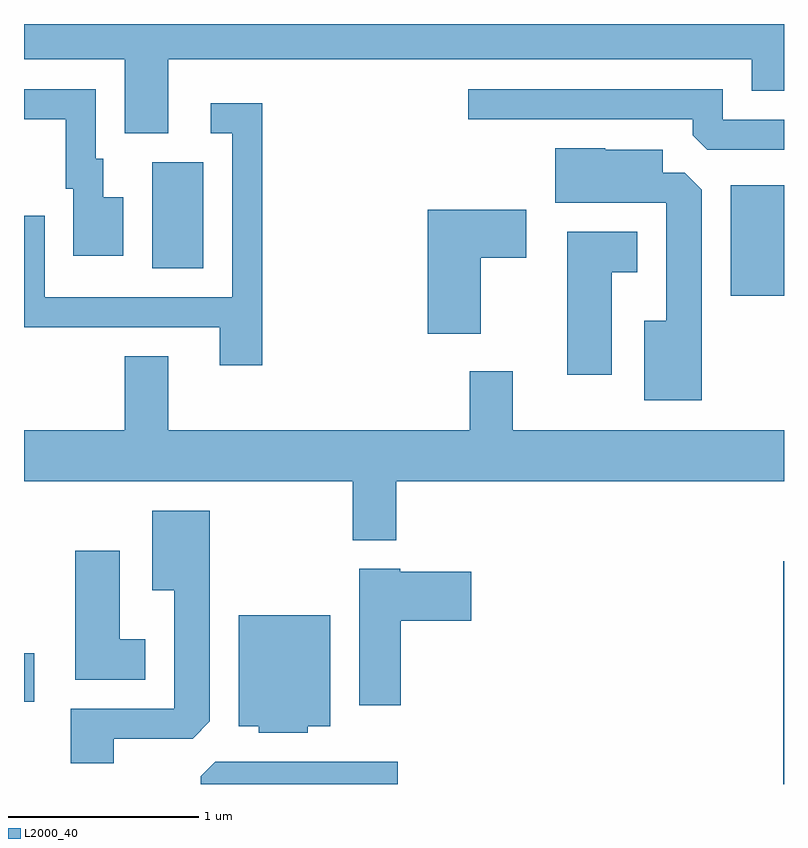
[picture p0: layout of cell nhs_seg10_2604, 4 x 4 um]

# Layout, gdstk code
import gdstk
lib = gdstk.Library(unit=1e-6, precision=1e-09)
def R(c, l, rs):  # rectangles x0, y0, x1, y1
    for r in rs: c.add(gdstk.rectangle(r[:2], r[2:], *l))
def P(c, l, *ps):  # polygons
    for p in ps: c.add(gdstk.Polygon(p, *l))
L2000_40 = (2000, 40)

nhs_seg10_2604 = lib.new_cell('nhs_seg10_2604')
R(nhs_seg10_2604, L2000_40, [(265.606,2134.522,265.611,2135.694), (261.611,2134.956,261.664,2135.209), (265.331,2137.091,265.611,2137.674), (262.286,2137.236,262.554,2137.794)])
P(nhs_seg10_2604, L2000_40, [(262.369,2138.336),(265.441,2138.336),(265.441,2138.171),(265.611,2138.171),(265.611,2138.522),(261.611,2138.522),(261.611,2138.336),(262.141,2138.336),(262.141,2137.946),(262.369,2137.946)],
  [(262.134,2137.609),(262.029,2137.609),(262.029,2137.814),(261.989,2137.814),(261.989,2138.179),(261.611,2138.179),(261.611,2138.021),(261.831,2138.021),(261.831,2137.656),(261.871,2137.656),(261.871,2137.301),(262.134,2137.301)],
  [(265.611,2138.019),(265.289,2138.019),(265.289,2138.179),(263.948,2138.179),(263.948,2138.021),(265.131,2138.021),(265.131,2137.937),(265.207,2137.861),(265.611,2137.861)],
  [(262.864,2138.104),(262.593,2138.104),(262.593,2137.946),(262.706,2137.946),(262.706,2137.084),(261.719,2137.084),(261.719,2137.513),(261.611,2137.513),(261.611,2136.926),(262.641,2136.926),(262.641,2136.726),(262.864,2136.726)],
  [(265.179,2137.649),(265.089,2137.739),(264.974,2137.739),(264.974,2137.859),(264.67,2137.859),(264.67,2137.869),(264.406,2137.869),(264.406,2137.581),(264.991,2137.581),(264.991,2136.959),(264.876,2136.959),(264.876,2136.541),(265.179,2136.541)],
  [(264.014,2137.291),(264.254,2137.291),(264.254,2137.544),(263.736,2137.544),(263.736,2136.891),(264.014,2136.891)],
  [(264.704,2137.216),(264.839,2137.216),(264.839,2137.429),(264.471,2137.429),(264.471,2136.676),(264.704,2136.676)],
  [(263.569,2136.116),(265.611,2136.116),(265.611,2136.384),(264.184,2136.384),(264.184,2136.694),(263.956,2136.694),(263.956,2136.384),(262.369,2136.384),(262.369,2136.774),(262.141,2136.774),(262.141,2136.384),(261.611,2136.384),(261.611,2136.116),(263.341,2136.116),(263.341,2135.806),(263.569,2135.806)],
  [(262.084,2134.761),(262.499,2134.761),(262.589,2134.852),(262.589,2135.959),(262.286,2135.959),(262.286,2135.541),(262.401,2135.541),(262.401,2134.919),(261.856,2134.919),(261.856,2134.631),(262.084,2134.631)],
  [(262.249,2135.284),(262.114,2135.284),(262.114,2135.749),(261.881,2135.749),(261.881,2135.071),(262.249,2135.071)],
  [(263.594,2135.381),(263.964,2135.381),(263.964,2135.639),(263.59,2135.639),(263.59,2135.654),(263.376,2135.654),(263.376,2134.936),(263.594,2134.936)],
  [(263.104,2134.826),(263.224,2134.826),(263.224,2135.409),(262.741,2135.409),(262.741,2134.826),(262.846,2134.826),(262.846,2134.791),(263.104,2134.791)],
  [(263.578,2134.639),(262.617,2134.639),(262.541,2134.564),(262.541,2134.522),(263.578,2134.522)])

lib.write_gds('nhs_seg10_2604.gds')
